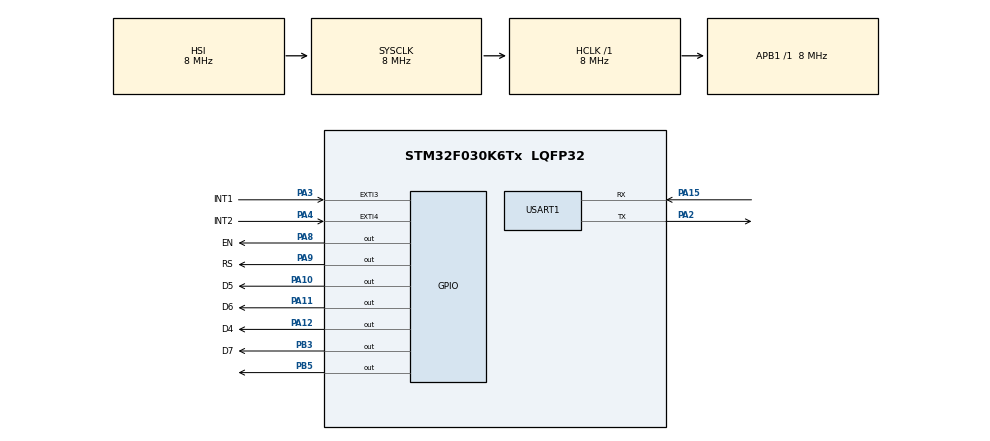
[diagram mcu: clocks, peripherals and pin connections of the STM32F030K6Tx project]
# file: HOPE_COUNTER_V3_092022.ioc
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Mcu.Family=STM32F0
Mcu.Name=STM32F030K6Tx
Mcu.Package=LQFP32
NVIC.EXTI2_3_IRQn=true\:0\:0\:false\:true\:true\:1\:true\:true\:true
NVIC.EXTI4_15_IRQn=true\:0\:0\:false\:true\:true\:2\:true\:true\:true
NVIC.TIM14_IRQn=true\:0\:0\:false\:false\:true\:true\:true\:true
PA10.GPIO_Label=D5
PA10.Signal=GPIO_Output
PA11.GPIO_Label=D6
PA11.Signal=GPIO_Output
PA12.GPIO_Label=D4
PA12.Signal=GPIO_Output
PA13.Mode=Serial_Wire
PA13.Signal=SYS_SWDIO
PA14.Mode=Serial_Wire
PA14.Signal=SYS_SWCLK
PA15.Mode=Asynchronous
PA15.Signal=USART1_RX
PA2.Mode=Asynchronous
PA2.Signal=USART1_TX
PA3.GPIO_Label=INT1
PA3.GPIO_PuPd=GPIO_NOPULL
PA3.Signal=GPXTI3
PA4.GPIO_Label=INT2
PA4.GPIO_PuPd=GPIO_NOPULL
PA4.Signal=GPXTI4
PA8.GPIO_Label=EN
PA8.Signal=GPIO_Output
PA9.GPIO_Label=RS
PA9.Signal=GPIO_Output
PB3.GPIO_Label=D7
PB3.Signal=GPIO_Output
PB5.Signal=GPIO_Output
PF0-OSC_IN.Mode=HSE-External-Oscillator
PF0-OSC_IN.Signal=RCC_OSC_IN
PF1-OSC_OUT.Mode=HSE-External-Oscillator
PF1-OSC_OUT.Signal=RCC_OSC_OUT
ProjectManager.HeapSize=0x200
ProjectManager.StackSize=0x400
ProjectManager.TargetToolchain=STM32CubeIDE
RCC.AHBFreq_Value=8000000
RCC.APB1Freq_Value=8000000
RCC.APB1TimFreq_Value=8000000
RCC.HCLKFreq_Value=8000000
RCC.SYSCLKFreq_VALUE=8000000
TIM14.AutoReloadPreload=TIM_AUTORELOAD_PRELOAD_ENABLE
TIM14.Prescaler=16000-1
USART1.VirtualMode-Asynchronous=VM_ASYNC
VP_TIM14_VS_ClockSourceINT.Mode=Enable_Timer
board=custom

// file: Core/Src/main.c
/* USER CODE BEGIN Header */
/**
  ******************************************************************************
  * @file           : main.c
  * @brief          : Main program body
  ******************************************************************************
  * @attention
  *
  * Copyright (c) 2022 STMicroelectronics.
  * All rights reserved.
  *
  * This software is licensed under terms that can be found in the LICENSE file
  * in the root directory of this software component.
  * If no LICENSE file comes with this software, it is provided AS-IS.
  *
  ******************************************************************************
  */
/* USER CODE END Header */
#include "main.h"

/* USER CODE BEGIN Includes */
#include "stdio.h"
#include "../Lib/lcd.h"
/* USER CODE END Includes */

 TIM_HandleTypeDef htim14;

UART_HandleTypeDef huart1;

/* USER CODE BEGIN PV */
 void lcd_default(void);
 void print_value(int val);
 void lcd_print(void);
 void lcd_print_data(void);

 int net = 0;
 uint32_t total = 0;
 uint16_t in = 0, out = 0;

 uint32_t t1 = 0, t0 = 0;
 uint32_t timeout = 700;

 const char title[50] = "HOPE SEC EQP PVT LTD";
/* USER CODE END PV */

void SystemClock_Config(void);
static void MX_GPIO_Init(void);
static void MX_TIM14_Init(void);
static void MX_USART1_UART_Init(void);
static void MX_NVIC_Init(void);
/* USER CODE BEGIN PFP */

const LCD16x2_CfgType LCD16x2_CfgParam =
{
	GPIOA,
	GPIO_PIN_12,
	GPIO_PIN_10,
	GPIO_PIN_11,
	GPIO_PIN_3,
	GPIO_PIN_8,
	GPIO_PIN_9,
	2
};

const LCD16x2_CfgType LCD16x2_CfgParam;

void delay_ms (uint16_t ms)
{
	__HAL_TIM_SET_COUNTER(&htim14,0);  // set the counter value a 0
	while (__HAL_TIM_GET_COUNTER(&htim14) < ms);  // wait for the counter to reach the us input in the parameter
}
/* USER CODE END PFP */

/* USER CODE BEGIN 0 */
void HAL_GPIO_EXTI_Callback(uint16_t GPIO_Pin)
{
    if(GPIO_Pin == GPIO_PIN_3) // If The INT Source Is EXTI Line9 (A9 Pin)
    {

    	  static uint32_t last_interrupt_time = 0;
    	  uint32_t interrupt_time = HAL_GetTick(); //millis();

    	  // If interrupts come faster than 200ms, assume it's a bounce and ignore
    	  //   noInterrupts();
    	  if ((interrupt_time - last_interrupt_time) > timeout)
    	  {
    	    t1 = HAL_GetTick(); //millis();
    	  }
    	  last_interrupt_time = interrupt_time;
    }

    if(GPIO_Pin == GPIO_PIN_4) // If The INT Source Is EXTI Line9 (A9 Pin)
    {
    	  static uint32_t last_interrupt_time = 0;
    	  uint32_t interrupt_time = HAL_GetTick();  //millis();
    	  // noInterrupts();
    	  // If interrupts come faster than 200ms, assume it's a bounce and ignore
    	  if ((interrupt_time - last_interrupt_time) > timeout) // && (int0_flag == 0
    	  {
    	    t0 = HAL_GetTick(); //millis();
    	  }
    	  last_interrupt_time = interrupt_time;
    }
}

/************************** LCD function *****************************/
void print_value(int val)
{
  char buff[50];
  sprintf(buff, "%06d", val);
  LCD_Write_String(buff);
}

void lcd_print_data()
{
  net = in - out;

//  if(net < 0)
//  {
//	  net = 0;
//  }
  total = in + out;
  // lcd.clear();
  LCD_Set_Cursor(5, 1);
  // LCD_Write_String(in);
  print_value(in);

  LCD_Set_Cursor(5, 2);
  // LCD_Write_String(out);
  print_value(out);

  //  count= count_in-count_out;
  LCD_Set_Cursor(5, 3);
  print_value(net);

  LCD_Set_Cursor(14, 3);
  print_value(total);
}

void lcd_print()
{
  net = in - out;
  total = in + out;
  LCD_Clear();
  LCD_Set_Cursor(0, 0);
  // lcd.scrollDisplayLeft(&title[0]);
  LCD_Write_String("HOPE SEC EQP PVT LTD");
  LCD_Set_Cursor(0, 1);
  LCD_Write_String("IN ");
  LCD_Set_Cursor(5, 1);
  //  LCD_Write_String(in);
  print_value(in);
  LCD_Set_Cursor(0, 2);
  LCD_Write_String("OUT ");
  LCD_Set_Cursor(5, 2);
  // LCD_Write_String(out);
  print_value(out);
  LCD_Set_Cursor(0, 3);
  LCD_Write_String("NET ");
  LCD_Set_Cursor(5, 3);
  print_value(net);
  // LCD_Write_String(0);

  LCD_Set_Cursor(14, 2);
  LCD_Write_String("TOTAL");

  LCD_Set_Cursor(14, 3);
  print_value(total);
  // LCD_Write_String(0);
}

void lcd_default()
{

//  lcd.begin(20, 4);
  LCD_Set_Cursor(0, 0);
  // lcd.scrollDisplayLeft(&title[0]);
  LCD_Write_String("HOPE SEC EQP PVT LTD");
  LCD_Set_Cursor(0, 1);
  LCD_Write_String("IN ");
  LCD_Set_Cursor(5, 1);
  // LCD_Write_String(0);
  print_value(0);
  LCD_Set_Cursor(0, 2);
  LCD_Write_String("OUT ");
  LCD_Set_Cursor(5, 2);
  // LCD_Write_String(0);
  print_value(0);
  LCD_Set_Cursor(0, 3);
  LCD_Write_String("NET ");
  LCD_Set_Cursor(5, 3);
  // LCD_Write_String(0);
  print_value(0);

  LCD_Set_Cursor(15, 2);
  LCD_Write_String("TOTAL");

  LCD_Set_Cursor(14, 3);
  // LCD_Write_String(0);
  print_value(0);
}

/****************************** end of code *****************/
/* USER CODE END 0 */

int main(void)
{

  /* MCU Configuration--------------------------------------------------------*/

  /* Reset of all peripherals, Initializes the Flash interface and the Systick. */
  HAL_Init();

  /* Configure the system clock */
  SystemClock_Config();

  /* Initialize all configured peripherals */
  MX_GPIO_Init();
  MX_TIM14_Init();
  MX_USART1_UART_Init();

  /* Initialize interrupts */
  MX_NVIC_Init();
  /* USER CODE BEGIN 2 */
  HAL_TIM_Base_Start(&htim14); // START TIMER
//  uint8_t Test[] = ".............Setup Ready........... !!!\r\n"; //Data to send
//  HAL_UART_Transmit(&huart1,Test,sizeof(Test),10);// Sending in normal mode
//  HAL_GPIO_TogglePin(GPIOC, GPIO_PIN_13);
  LCD_Init();
  LCD_Clear();

  LCD_Set_Cursor(5, 0);
  LCD_Write_String("BOOTING");

  LCD_Set_Cursor(5, 1);
  LCD_Write_String("PLEASE");

  LCD_Set_Cursor(5, 2);
  LCD_Write_String("WAIT");
  delay_ms(7000);
  char buffer[50];

  lcd_default();
  uint8_t flag = 0;

  int a = 10;
  int b = 10;
  /* USER CODE END 2 */

  /* Infinite loop */
  while (1)
  {

    /* USER CODE BEGIN 3 */
	  if(flag)
	  {
		  HAL_GPIO_WritePin(GPIOB, GPIO_PIN_5, 1);
		  HAL_Delay(1000);
		  HAL_GPIO_WritePin(GPIOB, GPIO_PIN_5, 0);
		  flag = 0;
	  }
//	  HAL_GPIO_TogglePin(GPIOB, GPIO_PIN_5);

//	  HAL_Delay(500);
	  if ((HAL_GetTick() - t1) < timeout && (HAL_GetTick() - t0) < timeout)
	  {

	    if (t1 > t0)
	    {
	      in++;
//	      Serial.print("IN :");
//	      Serial.println(in);
//	      sprintf(buffer, " %d /%d",in,out);
//		    sprintf(buffer, "%d-%d=",in,out);
//	//	    strcat(buffer, '\0');
//		    HAL_UART_Transmit(&huart1,buffer,sizeof(buffer),10);// Sending in normal mode
	      t0 = 0;
	      t1 = 0;
	      flag = 1;
	    }

	    else
	    {
	      out++;
//		    sprintf(buffer, "%d-%d=",in,out);
//	//	    strcat(buffer, '\0');
//		    HAL_UART_Transmit(&huart1,buffer,sizeof(buffer),10);// Sending in normal mode
//	      sprintf(buffer, " %d /%d", out);
//	      Serial.print("OUT :");
//	      Serial.println(out);
	      t0 = 0;
	      t1 = 0;
	      flag = 1;
	    }

	    sprintf(buffer, "%d,%d,%d,%d=",in,out,in-out,in+out);
	//	    strcat(buffer, '\0');
		    HAL_UART_Transmit(&huart1,buffer,sizeof(buffer),10);// Sending in normal mode

	  }

	    HAL_Delay(10);
//	    sprintf(buffer, "%d,%d,%d,%d=",in,out,in-out,in+out);
//	 	//	    strcat(buffer, '\0');
//	 		    HAL_UART_Transmit(&huart1,buffer,sizeof(buffer),10);// Sending in normal mode
//	  sprintf(buffer, "%d-%d,",a,b);
//		//	    strcat(buffer, '\0');
//	  HAL_UART_Transmit(&huart1,buffer,sizeof(buffer),100);// Sending in normal mode

//	    sprintf(buffer, "%d,%d,%d,%d=",99,98,97,96);
////	   	//	    strcat(buffer, '\0');
//	   		    HAL_UART_Transmit(&huart1,buffer,sizeof(buffer),10);// Sending in normal mode
//	  HAL_Delay(1000);
	  lcd_print_data();

  }
  /* USER CODE END 3 */
}

void SystemClock_Config(void)
{
  RCC_OscInitTypeDef RCC_OscInitStruct = {0};
  RCC_ClkInitTypeDef RCC_ClkInitStruct = {0};
  RCC_PeriphCLKInitTypeDef PeriphClkInit = {0};

  /** Initializes the RCC Oscillators according to the specified parameters
  * in the RCC_OscInitTypeDef structure.
  */
  RCC_OscInitStruct.OscillatorType = RCC_OSCILLATORTYPE_HSI;
  RCC_OscInitStruct.HSIState = RCC_HSI_ON;
  RCC_OscInitStruct.HSICalibrationValue = RCC_HSICALIBRATION_DEFAULT;
  RCC_OscInitStruct.PLL.PLLState = RCC_PLL_NONE;
  if (HAL_RCC_OscConfig(&RCC_OscInitStruct) != HAL_OK)
  {
    Error_Handler();
  }

  /** Initializes the CPU, AHB and APB buses clocks
  */
  RCC_ClkInitStruct.ClockType = RCC_CLOCKTYPE_HCLK|RCC_CLOCKTYPE_SYSCLK
                              |RCC_CLOCKTYPE_PCLK1;
  RCC_ClkInitStruct.SYSCLKSource = RCC_SYSCLKSOURCE_HSI;
  RCC_ClkInitStruct.AHBCLKDivider = RCC_SYSCLK_DIV1;
  RCC_ClkInitStruct.APB1CLKDivider = RCC_HCLK_DIV1;

  if (HAL_RCC_ClockConfig(&RCC_ClkInitStruct, FLASH_LATENCY_0) != HAL_OK)
  {
    Error_Handler();
  }
  PeriphClkInit.PeriphClockSelection = RCC_PERIPHCLK_USART1;
  PeriphClkInit.Usart1ClockSelection = RCC_USART1CLKSOURCE_PCLK1;
  if (HAL_RCCEx_PeriphCLKConfig(&PeriphClkInit) != HAL_OK)
  {
    Error_Handler();
  }
}

/**
  * @brief NVIC Configuration.
  * @retval None
  */
static void MX_NVIC_Init(void)
{
  /* EXTI2_3_IRQn interrupt configuration */
  HAL_NVIC_SetPriority(EXTI2_3_IRQn, 0, 0);
  HAL_NVIC_EnableIRQ(EXTI2_3_IRQn);
  /* EXTI4_15_IRQn interrupt configuration */
  HAL_NVIC_SetPriority(EXTI4_15_IRQn, 0, 0);
  HAL_NVIC_EnableIRQ(EXTI4_15_IRQn);
}

static void MX_TIM14_Init(void)
{

  htim14.Instance = TIM14;
  htim14.Init.Prescaler = 16000-1;
  htim14.Init.CounterMode = TIM_COUNTERMODE_UP;
  htim14.Init.Period = 65535;
  htim14.Init.ClockDivision = TIM_CLOCKDIVISION_DIV1;
  htim14.Init.AutoReloadPreload = TIM_AUTORELOAD_PRELOAD_ENABLE;
  if (HAL_TIM_Base_Init(&htim14) != HAL_OK)
  {
    Error_Handler();
  }

}

static void MX_USART1_UART_Init(void)
{

  huart1.Instance = USART1;
  huart1.Init.BaudRate = 9600;
  huart1.Init.WordLength = UART_WORDLENGTH_8B;
  huart1.Init.StopBits = UART_STOPBITS_1;
  huart1.Init.Parity = UART_PARITY_NONE;
  huart1.Init.Mode = UART_MODE_TX_RX;
  huart1.Init.HwFlowCtl = UART_HWCONTROL_NONE;
  huart1.Init.OverSampling = UART_OVERSAMPLING_16;
  huart1.Init.OneBitSampling = UART_ONE_BIT_SAMPLE_DISABLE;
  huart1.AdvancedInit.AdvFeatureInit = UART_ADVFEATURE_NO_INIT;
  if (HAL_UART_Init(&huart1) != HAL_OK)
  {
    Error_Handler();
  }

}

static void MX_GPIO_Init(void)
{
  GPIO_InitTypeDef GPIO_InitStruct = {0};

  /* GPIO Ports Clock Enable */
  __HAL_RCC_GPIOF_CLK_ENABLE();
  __HAL_RCC_GPIOA_CLK_ENABLE();
  __HAL_RCC_GPIOB_CLK_ENABLE();

  /*Configure GPIO pin Output Level */
  HAL_GPIO_WritePin(GPIOA, EN_Pin|RS_Pin|D5_Pin|D6_Pin
                          |D4_Pin, GPIO_PIN_RESET);

  /*Configure GPIO pin Output Level */
  HAL_GPIO_WritePin(GPIOB, D7_Pin|GPIO_PIN_5, GPIO_PIN_RESET);

  /*Configure GPIO pins : INT1_Pin INT2_Pin */
  GPIO_InitStruct.Pin = INT1_Pin|INT2_Pin;
  GPIO_InitStruct.Mode = GPIO_MODE_IT_RISING;
  GPIO_InitStruct.Pull = GPIO_NOPULL;
  HAL_GPIO_Init(GPIOA, &GPIO_InitStruct);

  /*Configure GPIO pins : EN_Pin RS_Pin D5_Pin D6_Pin
                           D4_Pin */
  GPIO_InitStruct.Pin = EN_Pin|RS_Pin|D5_Pin|D6_Pin
                          |D4_Pin;
  GPIO_InitStruct.Mode = GPIO_MODE_OUTPUT_PP;
  GPIO_InitStruct.Pull = GPIO_NOPULL;
  GPIO_InitStruct.Speed = GPIO_SPEED_FREQ_LOW;
  HAL_GPIO_Init(GPIOA, &GPIO_InitStruct);

  /*Configure GPIO pins : D7_Pin PB5 */
  GPIO_InitStruct.Pin = D7_Pin|GPIO_PIN_5;
  GPIO_InitStruct.Mode = GPIO_MODE_OUTPUT_PP;
  GPIO_InitStruct.Pull = GPIO_NOPULL;
  GPIO_InitStruct.Speed = GPIO_SPEED_FREQ_LOW;
  HAL_GPIO_Init(GPIOB, &GPIO_InitStruct);

}

void Error_Handler(void)
{
  __disable_irq();
  while (1)
  {
  }
}
